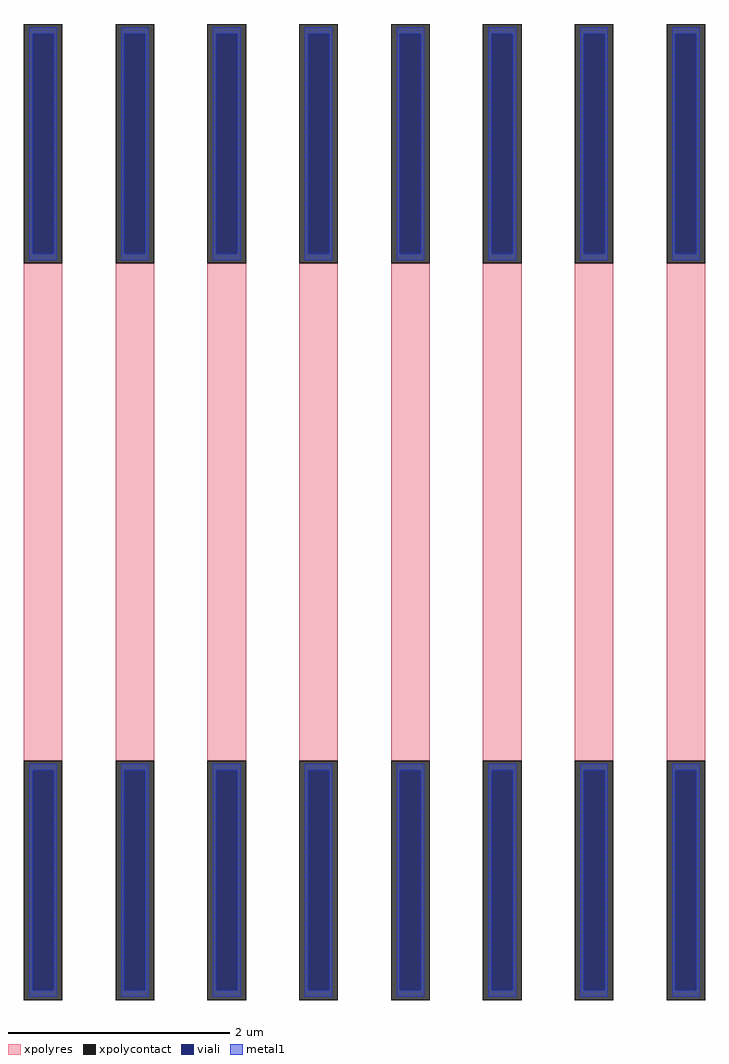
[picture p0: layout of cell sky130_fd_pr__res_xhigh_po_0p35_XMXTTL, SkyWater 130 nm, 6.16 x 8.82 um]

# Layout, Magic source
magic
tech sky130A
magscale 1 2
<< xpolycontact >>
rect -616 450 -546 882
rect -616 -882 -546 -450
rect -450 450 -380 882
rect -450 -882 -380 -450
rect -284 450 -214 882
rect -284 -882 -214 -450
rect -118 450 -48 882
rect -118 -882 -48 -450
rect 48 450 118 882
rect 48 -882 118 -450
rect 214 450 284 882
rect 214 -882 284 -450
rect 380 450 450 882
rect 380 -882 450 -450
rect 546 450 616 882
rect 546 -882 616 -450
<< xpolyres >>
rect -616 -450 -546 450
rect -450 -450 -380 450
rect -284 -450 -214 450
rect -118 -450 -48 450
rect 48 -450 118 450
rect 214 -450 284 450
rect 380 -450 450 450
rect 546 -450 616 450
<< viali >>
rect -600 467 -562 864
rect -434 467 -396 864
rect -268 467 -230 864
rect -102 467 -64 864
rect 64 467 102 864
rect 230 467 268 864
rect 396 467 434 864
rect 562 467 600 864
rect -600 -864 -562 -467
rect -434 -864 -396 -467
rect -268 -864 -230 -467
rect -102 -864 -64 -467
rect 64 -864 102 -467
rect 230 -864 268 -467
rect 396 -864 434 -467
rect 562 -864 600 -467
<< metal1 >>
rect -606 864 -556 876
rect -606 467 -600 864
rect -562 467 -556 864
rect -606 455 -556 467
rect -440 864 -390 876
rect -440 467 -434 864
rect -396 467 -390 864
rect -440 455 -390 467
rect -274 864 -224 876
rect -274 467 -268 864
rect -230 467 -224 864
rect -274 455 -224 467
rect -108 864 -58 876
rect -108 467 -102 864
rect -64 467 -58 864
rect -108 455 -58 467
rect 58 864 108 876
rect 58 467 64 864
rect 102 467 108 864
rect 58 455 108 467
rect 224 864 274 876
rect 224 467 230 864
rect 268 467 274 864
rect 224 455 274 467
rect 390 864 440 876
rect 390 467 396 864
rect 434 467 440 864
rect 390 455 440 467
rect 556 864 606 876
rect 556 467 562 864
rect 600 467 606 864
rect 556 455 606 467
rect -606 -467 -556 -455
rect -606 -864 -600 -467
rect -562 -864 -556 -467
rect -606 -876 -556 -864
rect -440 -467 -390 -455
rect -440 -864 -434 -467
rect -396 -864 -390 -467
rect -440 -876 -390 -864
rect -274 -467 -224 -455
rect -274 -864 -268 -467
rect -230 -864 -224 -467
rect -274 -876 -224 -864
rect -108 -467 -58 -455
rect -108 -864 -102 -467
rect -64 -864 -58 -467
rect -108 -876 -58 -864
rect 58 -467 108 -455
rect 58 -864 64 -467
rect 102 -864 108 -467
rect 58 -876 108 -864
rect 224 -467 274 -455
rect 224 -864 230 -467
rect 268 -864 274 -467
rect 224 -876 274 -864
rect 390 -467 440 -455
rect 390 -864 396 -467
rect 434 -864 440 -467
rect 390 -876 440 -864
rect 556 -467 606 -455
rect 556 -864 562 -467
rect 600 -864 606 -467
rect 556 -876 606 -864
<< properties >>
string gencell sky130_fd_pr__res_xhigh_po_0p35
string library sky130
string parameters w 0.35 l 4.5 m 1 nx 8 wmin 0.350 lmin 0.50 rho 2000 val 26.789k dummy 0 dw 0.0 term 188.2 sterm 0.0 caplen 0 wmax 0.350 guard 0 glc 1 grc 1 gtc 1 gbc 1 compatible {sky130_fd_pr__res_xhigh_po_0p35  sky130_fd_pr__res_xhigh_po_0p69 sky130_fd_pr__res_xhigh_po_1p41  sky130_fd_pr__res_xhigh_po_2p85 sky130_fd_pr__res_xhigh_po_5p73} snake 0 full_metal 1 n_guard 0 hv_guard 0 vias 1 viagb 0 viagt 0 viagl 0 viagr 0
<< end >>
